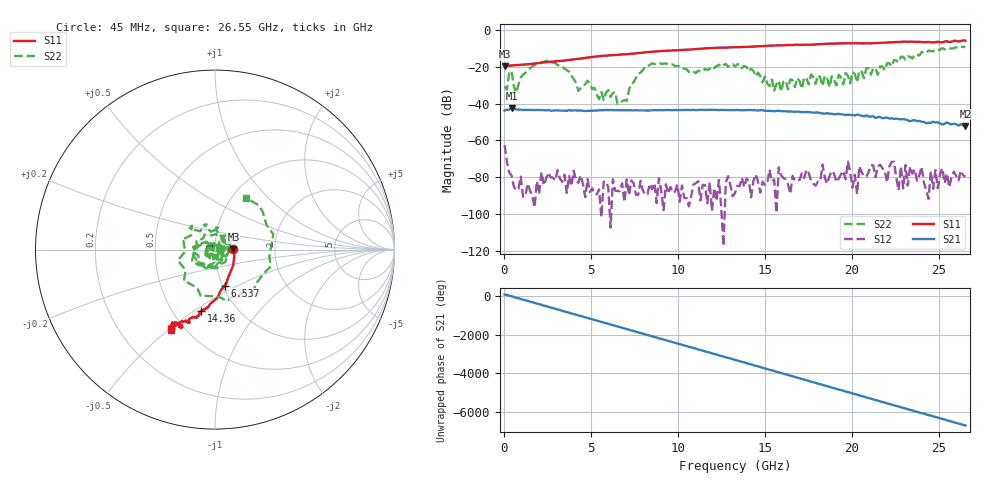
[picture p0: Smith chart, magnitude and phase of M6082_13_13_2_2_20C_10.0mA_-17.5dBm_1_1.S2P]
!  2-Port S-parameters saved by WinCal
! VAR MeasName=S-Parameters (CALIBRATED_DATA) read from VNA (C)
! VAR MeasDate=10/16/2015 11:04:07 AM
! VAR NAME=M6082_13_13_2_2_20C_10.0mA_-17.5dBm
! VAR FILENAME=M6082_13_13_2_2_20C_10.0mA_-17.5dBm_1_1.S2P
! VAR DATE=10/16/2015 11:04:07 AM
! VAR PHYS_PORTS=2,1
! VAR ObjTypeName=DATASET
! VAR IndexType=Frequency
# Hz S RI R 50
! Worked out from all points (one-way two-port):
!   201 points, 45 MHz to 26.55 GHz, reference 50 ohm
!   highest |S21| = -42.46 dB at 442.5 MHz (marker M1); lowest = -52.2 dB at 26.55 GHz (marker M2)
!   lowest |S11| = -19.8 dB at 45 MHz (marker M3), VSWR 1.23, Z = 61.5 + j0.243 ohm
!   |S11| at or under -10 dB: start of sweep to 11.71 GHz
!   |S22| runs from -40.2 to -9.2 dB; largest |S21 - S12| = 0.0075
!   S11 on the Smith chart (normalised r, x): 45 MHz: 1.23, +0.00; 6.537 GHz: 1.02, -0.43; 14.36 GHz: 0.69, -0.54; 26.55 GHz: 0.42, -0.51
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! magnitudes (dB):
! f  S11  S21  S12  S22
! 45 MHz  -19.8  -43.9  -62.6  -30.8
! 442.5 MHz  -19.3  -42.5  -79.0  -22.3
! 707.5 MHz  -19.2  -43.2  -87.2  -34.4
! 1.105 GHz  -18.9  -43.6  -90.6  -24.3
! 2.43 GHz  -17.6  -43.8  -80.9  -16.9
! 4.55 GHz  -15.4  -44.0  -83.8  -30.2
! 6.537 GHz  -13.6  -43.6  -87.5  -40.2
! 8.922 GHz  -11.6  -43.5  -80.5  -18.0
! 13.29 GHz  -9.4  -43.6  -88.5  -20.0
! 14.36 GHz  -9.1  -43.7  -81.9  -22.3
! 15.95 GHz  -8.4  -44.1  -78.9  -33.6
! 17.8 GHz  -8.1  -45.0  -83.5  -25.7
! 18.33 GHz  -7.7  -45.4  -73.1  -30.5
! 18.46 GHz  -7.6  -45.5  -80.4  -25.0
! 18.73 GHz  -7.5  -45.5  -79.5  -31.1
! 19.66 GHz  -7.3  -46.3  -81.1  -23.5
! 19.79 GHz  -7.3  -46.0  -71.5  -25.0
! 20.32 GHz  -7.3  -46.0  -89.1  -28.4
! 20.45 GHz  -7.3  -46.2  -74.1  -22.0
! 22.04 GHz  -6.9  -47.6  -82.8  -18.1
! 22.17 GHz  -6.9  -48.2  -74.0  -18.2
! 26.55 GHz  -5.9  -52.2  -79.8  -9.5
